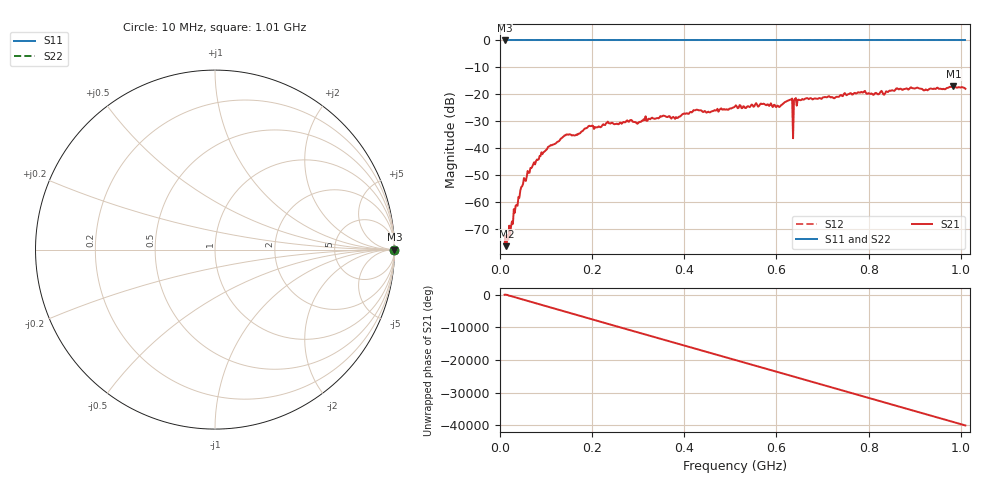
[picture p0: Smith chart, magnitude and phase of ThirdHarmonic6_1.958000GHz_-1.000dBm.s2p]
! 8/16/2025 11:34:18 PM
! C:\ANRITSUVNA\TEMP\TEMP.S2P
! CHANNEL.1
! TR.MEASUREMENT
! RAW.DATA
! RF.CORRECTION.OFF
! AVERAGING.OFF
! IF.BANDWIDTH: 5KHZ
! SWEEPTYPE:  FREQ.SWEEP(Linear)
! Reference Plane Port Info
! PORT:  PORT1  PORT2
! DISTANCE:  0  m  0  m
! TIME:  0  s  0  s
! PHASE.OFFSET:  0  deg.  0  deg.
! LOSS:  0  dB  0  dB
! REF.LOSS:  0  dB  0  dB
! REF.FREQ:  0  Hz  0  Hz
! Power Info
! POWER:  -20  dBm  -20  dBm
! EFF.POWER:  -20  dBm  -20  dBm
! SOURCE.ATTEN:  0  dB  0  dB
! TEST.ATTEN:  0  dB  0  dB
# GHZ S RI R 50.0
! FREQ.GHZ  S11RE  S11IM  S21RE  S21IM  S12RE  S12IM  S22RE  S22IM
!; PortSelection: Port_12
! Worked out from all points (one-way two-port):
!   501 points, 10 MHz to 1.01 GHz, reference 50 ohm
!   highest |S21| = -17.13 dB at 984 MHz (marker M1); lowest = -76.6 dB at 14 MHz (marker M2)
!   lowest |S11| = 0.0 dB at 10 MHz (marker M3)
!   |S11| at or under -10 dB: nowhere
!   |S22| runs from 0.0 to 0.0 dB; largest |S21 - S12| = 1.1
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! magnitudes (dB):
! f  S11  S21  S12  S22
! 10 MHz  0.0  -75.6  0.0  0.0
! 14 MHz  0.0  -76.6  0.0  0.0
! 18 MHz  0.0  -74.2  0.0  0.0
! 48 MHz  0.0  -54.3  0.0  0.0
! 70 MHz  0.0  -47.0  0.0  0.0
! 108 MHz  0.0  -39.3  0.0  0.0
! 142 MHz  0.0  -35.4  0.0  0.0
! 178 MHz  0.0  -33.8  0.0  0.0
! 196 MHz  0.0  -31.9  0.0  0.0
! 344 MHz  0.0  -29.0  0.0  0.0
! 382 MHz  0.0  -28.5  0.0  0.0
! 424 MHz  0.0  -26.0  0.0  0.0
! 510 MHz  0.0  -24.6  0.0  0.0
! 604 MHz  0.0  -24.4  0.0  0.0
! 630 MHz  0.0  -22.0  0.0  0.0
! 632 MHz  0.0  -22.0  0.0  0.0
! 640 MHz  0.0  -21.8  0.0  0.0
! 642 MHz  0.0  -21.4  0.0  0.0
! 678 MHz  0.0  -22.0  0.0  0.0
! 844 MHz  0.0  -18.8  0.0  0.0
! 984 MHz  0.0  -17.1  0.0  0.0
! 1.01 GHz  0.0  -18.0  0.0  0.0
